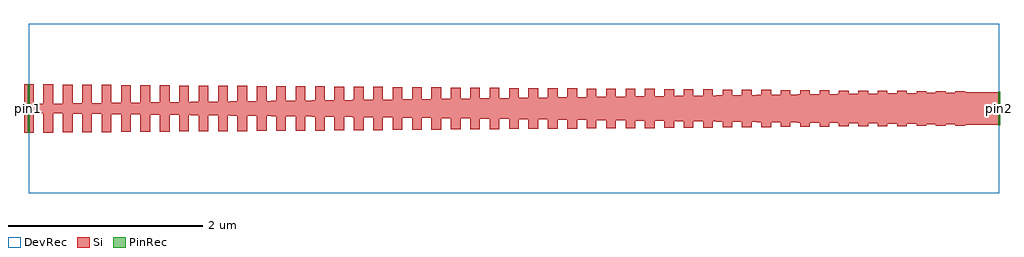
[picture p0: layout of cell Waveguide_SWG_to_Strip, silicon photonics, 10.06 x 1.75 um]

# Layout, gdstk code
import gdstk
lib = gdstk.Library(unit=1e-6, precision=1e-09)
def R(c, l, rs):  # rectangles x0, y0, x1, y1
    for r in rs: c.add(gdstk.rectangle(r[:2], r[2:], *l))
def P(c, l, *ps):  # polygons
    for p in ps: c.add(gdstk.Polygon(p, *l))
Si = (1, 0)
PinRec = (1, 10)
DevRec = (68, 0)

waveguide_swg_to_strip = lib.new_cell('Waveguide_SWG_to_Strip')
R(waveguide_swg_to_strip, Si, [(-0.05,-0.25,0.05,0.25), (0.15,-0.248,0.25,0.248), (0.35,-0.246,0.45,0.246), (0.55,-0.245,0.65,0.245), (0.75,-0.243,0.85,0.243), (0.95,-0.242,1.05,0.242), (1.15,-0.24,1.25,0.24), (1.35,-0.239,1.45,0.239), (1.55,-0.237,1.65,0.237), (1.75,-0.236,1.85,0.236), (1.95,-0.234,2.05,0.234), (2.15,-0.233,2.25,0.233), (2.35,-0.231,2.45,0.231), (2.55,-0.23,2.65,0.23), (2.75,-0.228,2.85,0.228), (2.95,-0.227,3.05,0.227), (3.15,-0.225,3.25,0.225), (3.35,-0.223,3.45,0.223), (3.55,-0.222,3.65,0.222), (3.75,-0.22,3.85,0.22), (3.95,-0.219,4.05,0.219), (4.15,-0.217,4.25,0.217), (4.35,-0.216,4.45,0.216), (4.55,-0.214,4.65,0.214), (4.75,-0.213,4.85,0.213), (4.95,-0.211,5.05,0.211), (5.15,-0.21,5.25,0.21), (5.35,-0.208,5.45,0.208), (5.55,-0.207,5.65,0.207), (5.75,-0.205,5.85,0.205), (5.95,-0.204,6.05,0.204), (6.15,-0.202,6.25,0.202), (6.35,-0.201,6.45,0.201), (6.55,-0.199,6.65,0.199), (6.75,-0.197,6.85,0.197), (6.95,-0.196,7.05,0.196), (7.15,-0.194,7.25,0.194), (7.35,-0.193,7.45,0.193), (7.55,-0.191,7.65,0.191), (7.75,-0.19,7.85,0.19), (7.95,-0.188,8.05,0.188), (8.15,-0.187,8.25,0.187), (8.35,-0.185,8.45,0.185), (8.55,-0.184,8.65,0.184), (8.75,-0.182,8.85,0.182), (8.95,-0.181,9.05,0.181), (9.15,-0.179,9.25,0.179), (9.35,-0.178,9.45,0.178), (9.55,-0.176,9.65,0.176)])
P(waveguide_swg_to_strip, Si, [(10,-0.175),(0,-0.05),(0,0.05),(10,0.175)])
R(waveguide_swg_to_strip, DevRec, [(0,-0.875,10,0.875)])
waveguide_swg_to_strip.add(gdstk.FlexPath([(0.01,0),(-0.01,0)], 0.5, ends="flush", simple_path=True, layer=1, datatype=10))  # PinRec
waveguide_swg_to_strip.add(gdstk.FlexPath([(9.99,0),(10.01,0)], 0.35, ends="flush", simple_path=True, layer=1, datatype=10))  # PinRec
waveguide_swg_to_strip.add(gdstk.Label('pin1', (0,0), layer=1, texttype=10))
waveguide_swg_to_strip.add(gdstk.Label('pin2', (10,0), layer=1, texttype=10))

lib.write_gds('Waveguide_SWG_to_Strip.gds')
